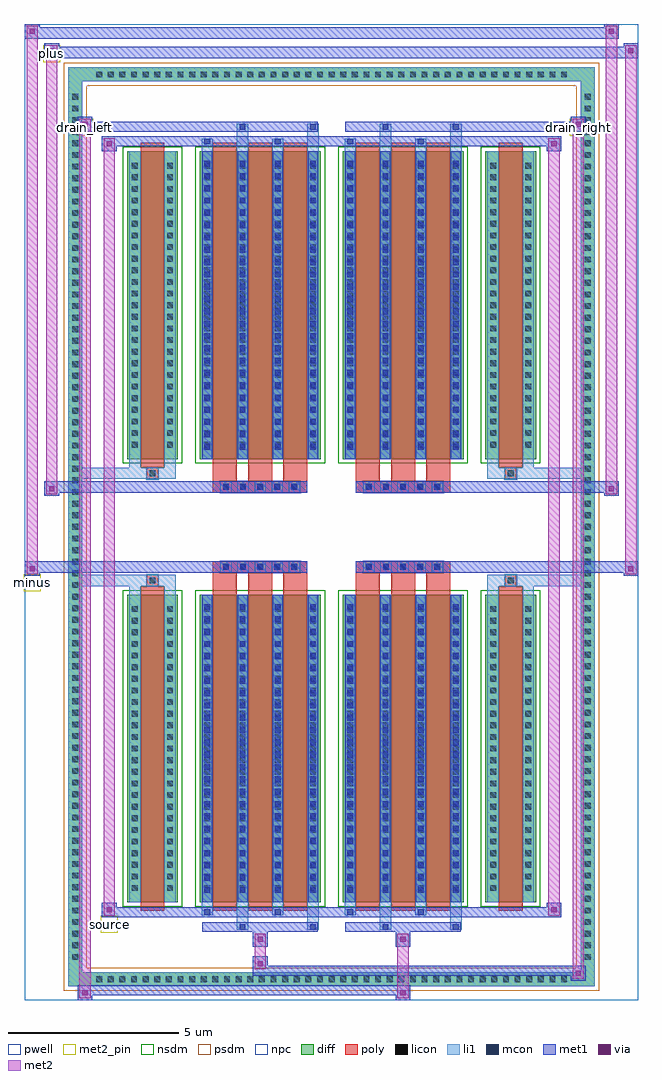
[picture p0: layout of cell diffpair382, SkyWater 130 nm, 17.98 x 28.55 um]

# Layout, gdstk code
import gdstk
lib = gdstk.Library(unit=1e-6, precision=5e-09)
def R(c, l, rs):  # rectangles x0, y0, x1, y1
    for r in rs: c.add(gdstk.rectangle(r[:2], r[2:], *l))
def A(c, l, x, y, w, h, nx, ny, dx, dy):  # array of equal rectangles
    R(c, l, [(x+i*dx, y+j*dy, x+i*dx+w, y+j*dy+h) for i in range(nx) for j in range(ny)])
def P(c, l, *ps):  # polygons
    for p in ps: c.add(gdstk.Polygon(p, *l))
pwell = (64, 44)
diff = (65, 20)
poly = (66, 20)
licon = (66, 44)
li1 = (67, 20)
mcon = (67, 44)
met1 = (68, 20)
via = (68, 44)
met2_pin = (69, 16)
met2 = (69, 20)
nsdm = (93, 44)
psdm = (94, 20)
npc = (95, 20)

diffpair382 = lib.new_cell('diffpair382')
R(diffpair382, pwell, [(-8.97,-13.84,8.97,14.71), (-6.29,-12.03,-0.01,-0.805), (0.01,-12.03,6.29,-0.805), (-6.29,0.805,-0.01,12.03), (0.01,0.805,6.29,12.03)])
A(diffpair382, diff, -7.005, -13.44, 0.41, 0.41, 41, 2, 0.34, 26.47)
A(diffpair382, diff, -7.7, -12.785, 0.41, 0.41, 1, 75, 0, 0.34)
A(diffpair382, diff, 7.29, -12.785, 0.41, 0.41, 1, 75, 0, 0.34)
R(diffpair382, diff, [(-7.005,-13.44,7.005,-13.03), (-7.7,-12.785,-7.29,12.785), (7.29,-12.785,7.7,12.785), (-5.98,-10.985,-4.5,-1.985), (-3.86,-10.985,-0.32,-1.985), (0.32,-10.985,3.86,-1.985), (4.5,-10.985,5.98,-1.985), (-5.98,1.985,-4.5,10.985), (-3.86,1.985,-0.32,10.985), (0.32,1.985,3.86,10.985), (4.5,1.985,5.98,10.985), (-7.005,13.03,7.005,13.44)])
P(diffpair382, diff, [(7.7,13.44),(-7.7,13.44),(-7.7,-13.03),(-7.29,-13.03),(-7.29,13.03),(7.29,13.03),(7.29,-13.03),(-7.29,-13.03),(-7.7,-13.03),(-7.7,-13.44),(7.7,-13.44)])
A(diffpair382, poly, -3.47, -11.235, 0.7, 9.5, 3, 2, 1.03, 12.97)
A(diffpair382, poly, 0.71, -11.235, 0.7, 9.5, 3, 2, 1.03, 12.97)
A(diffpair382, poly, -3.47, -1.735, 0.7, 0.4, 3, 2, 1.03, 3.07)
A(diffpair382, poly, 0.71, -1.735, 0.7, 0.4, 3, 2, 1.03, 3.07)
A(diffpair382, poly, -3.255, -1.335, 0.33, 0.33, 5, 2, 0.5, 2.34)
A(diffpair382, poly, 0.925, -1.335, 0.33, 0.33, 5, 2, 0.5, 2.34)
R(diffpair382, poly, [(-5.59,-11.235,-4.89,-1.735), (4.89,-11.235,5.59,-1.735), (-5.405,-1.735,-5.075,-1.405), (-5.405,-1.735,-5.075,-1.405), (5.075,-1.735,5.405,-1.405), (5.075,-1.735,5.405,-1.405), (-3.47,-1.335,-0.71,-1.005), (0.71,-1.335,3.47,-1.005), (-3.47,1.005,-0.71,1.335), (0.71,1.005,3.47,1.335), (-5.405,1.405,-5.075,1.735), (-5.405,1.405,-5.075,1.735), (5.075,1.405,5.405,1.735), (5.075,1.405,5.405,1.735), (-5.59,1.735,-4.89,11.235), (4.89,1.735,5.59,11.235)])
A(diffpair382, licon, -6.885, -13.32, 0.17, 0.17, 41, 2, 0.34, 26.47)
A(diffpair382, licon, -7.58, -12.665, 0.17, 0.17, 1, 75, 0, 0.34)
A(diffpair382, licon, 7.41, -12.665, 0.17, 0.17, 1, 75, 0, 0.34)
A(diffpair382, licon, -5.84, -10.65, 0.17, 0.17, 1, 25, 0, 0.34)
A(diffpair382, licon, -4.81, -10.65, 0.17, 0.17, 1, 25, 0, 0.34)
A(diffpair382, licon, -3.72, -10.65, 0.17, 0.17, 4, 25, 1.03, 0.34)
A(diffpair382, licon, 0.46, -10.65, 0.17, 0.17, 4, 25, 1.03, 0.34)
A(diffpair382, licon, 4.64, -10.65, 0.17, 0.17, 1, 25, 0, 0.34)
A(diffpair382, licon, 5.67, -10.65, 0.17, 0.17, 1, 25, 0, 0.34)
A(diffpair382, licon, -3.175, -1.255, 0.17, 0.17, 5, 2, 0.5, 2.34)
A(diffpair382, licon, 1.005, -1.255, 0.17, 0.17, 5, 2, 0.5, 2.34)
A(diffpair382, licon, -5.84, 2.32, 0.17, 0.17, 1, 25, 0, 0.34)
A(diffpair382, licon, -4.81, 2.32, 0.17, 0.17, 1, 25, 0, 0.34)
A(diffpair382, licon, -3.72, 2.32, 0.17, 0.17, 4, 25, 1.03, 0.34)
A(diffpair382, licon, 0.46, 2.32, 0.17, 0.17, 4, 25, 1.03, 0.34)
A(diffpair382, licon, 4.64, 2.32, 0.17, 0.17, 1, 25, 0, 0.34)
A(diffpair382, licon, 5.67, 2.32, 0.17, 0.17, 1, 25, 0, 0.34)
R(diffpair382, licon, [(-5.325,-1.655,-5.155,-1.485), (5.155,-1.655,5.325,-1.485), (-5.325,1.485,-5.155,1.655), (5.155,1.485,5.325,1.655)])
A(diffpair382, li1, -6.965, -13.4, 0.33, 0.33, 41, 2, 0.34, 26.47)
A(diffpair382, li1, -7.66, -12.745, 0.33, 0.33, 1, 75, 0, 0.34)
A(diffpair382, li1, 7.33, -12.745, 0.33, 0.33, 1, 75, 0, 0.34)
A(diffpair382, li1, -3.8, -10.985, 0.33, 9, 4, 2, 1.03, 12.97)
A(diffpair382, li1, 0.38, -10.985, 0.33, 9, 4, 2, 1.03, 12.97)
A(diffpair382, li1, -5.92, -10.73, 0.33, 0.33, 1, 25, 0, 0.34)
A(diffpair382, li1, -4.89, -10.73, 0.33, 0.33, 1, 25, 0, 0.34)
A(diffpair382, li1, -3.8, -10.73, 0.33, 0.33, 4, 25, 1.03, 0.34)
A(diffpair382, li1, 0.38, -10.73, 0.33, 0.33, 4, 25, 1.03, 0.34)
A(diffpair382, li1, 4.56, -10.73, 0.33, 0.33, 1, 25, 0, 0.34)
A(diffpair382, li1, 5.59, -10.73, 0.33, 0.33, 1, 25, 0, 0.34)
A(diffpair382, li1, -3.72, -10.71, 0.17, 0.17, 4, 24, 1.03, 0.36)
A(diffpair382, li1, -3.72, -10.71, 0.17, 8.45, 4, 2, 1.03, 12.97)
A(diffpair382, li1, 0.46, -10.71, 0.17, 0.17, 4, 24, 1.03, 0.36)
A(diffpair382, li1, 0.46, -10.71, 0.17, 8.45, 4, 2, 1.03, 12.97)
A(diffpair382, li1, -3.255, -1.335, 0.33, 0.33, 5, 2, 0.5, 2.34)
A(diffpair382, li1, 0.925, -1.335, 0.33, 0.33, 5, 2, 0.5, 2.34)
A(diffpair382, li1, -5.92, 2.24, 0.33, 0.33, 1, 25, 0, 0.34)
A(diffpair382, li1, -4.89, 2.24, 0.33, 0.33, 1, 25, 0, 0.34)
A(diffpair382, li1, -3.8, 2.24, 0.33, 0.33, 4, 25, 1.03, 0.34)
A(diffpair382, li1, 0.38, 2.24, 0.33, 0.33, 4, 25, 1.03, 0.34)
A(diffpair382, li1, 4.56, 2.24, 0.33, 0.33, 1, 25, 0, 0.34)
A(diffpair382, li1, 5.59, 2.24, 0.33, 0.33, 1, 25, 0, 0.34)
A(diffpair382, li1, -3.72, 2.26, 0.17, 0.17, 4, 24, 1.03, 0.36)
A(diffpair382, li1, 0.46, 2.26, 0.17, 0.17, 4, 24, 1.03, 0.36)
R(diffpair382, li1, [(-7.7,-13.44,-7.29,-13.03), (-7.7,-13.44,-7.29,-13.03), (-7.29,-13.44,7.29,-13.03), (7.29,-13.44,7.7,-13.03), (7.29,-13.44,7.7,-13.03), (-7.7,-13.03,-7.29,13.03), (7.29,-13.03,7.7,13.03), (-2.77,-11.79,-2.44,-10.985), (-2.69,-11.79,-2.52,-11.62), (-0.71,-11.79,-0.38,-10.985), (-0.63,-11.79,-0.46,-11.62), (1.41,-11.79,1.74,-10.985), (1.49,-11.79,1.66,-11.62), (3.47,-11.79,3.8,-10.985), (3.55,-11.79,3.72,-11.62), (-3.8,-11.36,-3.47,-10.985), (-3.72,-11.36,-3.55,-11.19), (-1.74,-11.36,-1.41,-10.985), (-1.66,-11.36,-1.49,-11.19), (0.38,-11.36,0.71,-10.985), (0.46,-11.36,0.63,-11.19), (2.44,-11.36,2.77,-10.985), (2.52,-11.36,2.69,-11.19), (-5.92,-10.985,-5.59,-1.985), (-4.89,-10.985,-4.56,-1.985), (4.56,-10.985,4.89,-1.985), (5.59,-10.985,5.92,-1.985), (-5.92,-1.985,-5.59,-1.405), (-4.89,-1.985,-4.56,-1.405), (4.56,-1.985,4.89,-1.405), (5.59,-1.985,5.92,-1.405), (-7.7,-1.735,-5.405,-1.405), (-5.92,-1.735,-5.405,-1.405), (-5.405,-1.735,-5.075,-1.405), (-5.075,-1.735,-4.56,-1.405), (4.56,-1.735,5.075,-1.405), (5.075,-1.735,5.405,-1.405), (5.075,-1.735,7.7,-1.405), (5.405,-1.735,5.92,-1.405), (-7.7,1.405,-5.405,1.735), (-5.92,1.405,-5.405,1.735), (-5.92,1.405,-5.59,1.985), (-5.405,1.405,-5.075,1.735), (-5.075,1.405,-4.56,1.735), (-4.89,1.405,-4.56,1.985), (4.56,1.405,5.075,1.735), (4.56,1.405,4.89,1.985), (5.075,1.405,5.405,1.735), (5.075,1.405,7.7,1.735), (5.405,1.405,5.92,1.735), (5.59,1.405,5.92,1.985), (-5.92,1.985,-5.59,10.985), (-4.89,1.985,-4.56,10.985), (4.56,1.985,4.89,10.985), (5.59,1.985,5.92,10.985), (-3.8,10.985,-3.47,11.36), (-2.77,10.985,-2.44,11.79), (-1.74,10.985,-1.41,11.36), (-0.71,10.985,-0.38,11.79), (0.38,10.985,0.71,11.36), (1.41,10.985,1.74,11.79), (2.44,10.985,2.77,11.36), (3.47,10.985,3.8,11.79), (-3.72,11.19,-3.55,11.36), (-1.66,11.19,-1.49,11.36), (0.46,11.19,0.63,11.36), (2.52,11.19,2.69,11.36), (-2.69,11.62,-2.52,11.79), (-0.63,11.62,-0.46,11.79), (1.49,11.62,1.66,11.79), (3.55,11.62,3.72,11.79), (-7.7,13.03,-7.29,13.44), (-7.7,13.03,-7.29,13.44), (-7.29,13.03,7.29,13.44), (7.29,13.03,7.7,13.44), (7.29,13.03,7.7,13.44)])
A(diffpair382, mcon, -3.72, -10.71, 0.17, 0.17, 4, 24, 1.03, 0.36)
A(diffpair382, mcon, 0.46, -10.71, 0.17, 0.17, 4, 24, 1.03, 0.36)
A(diffpair382, mcon, -3.175, -1.255, 0.17, 0.17, 5, 2, 0.5, 2.34)
A(diffpair382, mcon, 1.005, -1.255, 0.17, 0.17, 5, 2, 0.5, 2.34)
A(diffpair382, mcon, -3.72, 2.26, 0.17, 0.17, 4, 24, 1.03, 0.36)
A(diffpair382, mcon, 0.46, 2.26, 0.17, 0.17, 4, 24, 1.03, 0.36)
R(diffpair382, mcon, [(-2.69,-11.79,-2.52,-11.62), (-0.63,-11.79,-0.46,-11.62), (1.49,-11.79,1.66,-11.62), (3.55,-11.79,3.72,-11.62), (-3.72,-11.36,-3.55,-11.19), (-1.66,-11.36,-1.49,-11.19), (0.46,-11.36,0.63,-11.19), (2.52,-11.36,2.69,-11.19), (-3.72,11.19,-3.55,11.36), (-1.66,11.19,-1.49,11.36), (0.46,11.19,0.63,11.36), (2.52,11.19,2.69,11.36), (-2.69,11.62,-2.52,11.79), (-0.63,11.62,-0.46,11.79), (1.49,11.62,1.66,11.79), (3.55,11.62,3.72,11.79)])
A(diffpair382, met1, -3.78, -10.985, 0.29, 9, 4, 2, 1.03, 12.97)
A(diffpair382, met1, 0.4, -10.985, 0.29, 9, 4, 2, 1.03, 12.97)
A(diffpair382, met1, -3.78, -10.77, 0.29, 0.29, 4, 24, 1.03, 0.36)
A(diffpair382, met1, 0.4, -10.77, 0.29, 0.29, 4, 24, 1.03, 0.36)
A(diffpair382, met1, -3.235, -1.315, 0.29, 0.29, 5, 2, 0.5, 2.34)
A(diffpair382, met1, 0.945, -1.315, 0.29, 0.29, 5, 2, 0.5, 2.34)
A(diffpair382, met1, -3.78, 2.2, 0.29, 0.29, 4, 24, 1.03, 0.36)
A(diffpair382, met1, 0.4, 2.2, 0.29, 0.29, 4, 24, 1.03, 0.36)
R(diffpair382, met1, [(-7.43,-13.84,-7,-13.41), (1.875,-13.84,2.305,-13.41), (-7.43,-13.7,2.305,-13.41), (7,-13.27,7.43,-12.84), (-2.305,-13.13,7.43,-12.84), (-2.305,-12.99,-1.875,-12.56), (-2.305,-12.28,-1.875,-11.85), (1.875,-12.28,2.305,-11.85), (-3.78,-11.85,-0.4,-11.56), (-2.75,-11.85,-2.46,-11.56), (-0.69,-11.85,-0.4,-11.56), (0.4,-11.85,3.78,-11.56), (1.43,-11.85,1.72,-11.56), (3.49,-11.85,3.78,-11.56), (-6.72,-11.42,-6.29,-10.99), (-6.72,-11.42,-3.78,-11.13), (-3.78,-11.42,-3.49,-11.13), (-3.78,-11.42,-0.4,-11.13), (-1.72,-11.42,-1.43,-11.13), (-0.4,-11.42,0.4,-11.13), (0.4,-11.42,0.69,-11.13), (0.4,-11.42,3.78,-11.13), (2.46,-11.42,2.75,-11.13), (3.78,-11.42,6.72,-11.13), (6.29,-11.42,6.72,-10.99), (-8.97,-1.435,-8.54,-1.005), (8.54,-1.435,8.97,-1.005), (-8.97,-1.335,-0.71,-1.005), (-3.47,-1.335,-0.71,-1.005), (0.71,-1.335,3.47,-1.005), (0.71,-1.335,8.97,-1.005), (-8.4,0.905,-7.97,1.335), (7.97,0.905,8.4,1.335), (-8.4,1.005,-3.47,1.335), (-3.47,1.005,-0.71,1.335), (0.71,1.005,3.47,1.335), (3.47,1.005,8.4,1.335), (-6.72,10.99,-6.29,11.42), (6.29,10.99,6.72,11.42), (-6.72,11.13,-3.78,11.42), (-3.78,11.13,-3.49,11.42), (-3.78,11.13,-0.4,11.42), (-1.72,11.13,-1.43,11.42), (-0.4,11.13,0.4,11.42), (0.4,11.13,0.69,11.42), (0.4,11.13,3.78,11.42), (2.46,11.13,2.75,11.42), (3.78,11.13,6.72,11.42), (-7.43,11.56,-7,11.99), (-7.43,11.56,-3.78,11.85), (-3.78,11.56,-0.4,11.85), (-2.75,11.56,-2.46,11.85), (-0.69,11.56,-0.4,11.85), (0.4,11.56,3.78,11.85), (1.43,11.56,1.72,11.85), (3.49,11.56,3.78,11.85), (3.78,11.56,7.43,11.85), (7,11.56,7.43,11.99), (-8.4,13.71,-7.97,14.14), (-8.4,13.71,-6.29,14.04), (-6.29,13.71,6.29,14.04), (6.29,13.71,8.97,14.04), (8.54,13.71,8.97,14.14), (-8.97,14.28,-8.54,14.71), (-8.97,14.28,-6.29,14.61), (-6.29,14.28,6.29,14.61), (6.29,14.28,8.4,14.61), (7.97,14.28,8.4,14.71)])
R(diffpair382, via, [(-7.29,-13.7,-7.14,-13.55), (2.015,-13.7,2.165,-13.55), (7.14,-13.13,7.29,-12.98), (-2.165,-12.85,-2.015,-12.7), (-2.165,-12.14,-2.015,-11.99), (2.015,-12.14,2.165,-11.99), (-6.58,-11.28,-6.43,-11.13), (6.43,-11.28,6.58,-11.13), (-8.83,-1.295,-8.68,-1.145), (8.68,-1.295,8.83,-1.145), (-8.26,1.045,-8.11,1.195), (8.11,1.045,8.26,1.195), (-6.58,11.13,-6.43,11.28), (6.43,11.13,6.58,11.28), (-7.29,11.7,-7.14,11.85), (7.14,11.7,7.29,11.85), (-8.26,13.85,-8.11,14), (8.68,13.85,8.83,14), (-8.83,14.42,-8.68,14.57), (8.11,14.42,8.26,14.57)])
R(diffpair382, met2_pin, [(-6.755,-11.87,-6.255,-11.37), (-9.005,-1.885,-8.505,-1.385), (-7.465,11.44,-6.965,11.94), (6.965,11.44,7.465,11.94), (-8.435,13.59,-7.935,14.09)])
R(diffpair382, met2, [(-7.38,-13.79,-7.05,-13.46), (-7.38,-13.79,-7.05,11.94), (1.925,-13.79,2.255,-13.46), (1.925,-13.46,2.255,-12.23), (7.05,-13.22,7.38,-12.89), (7.05,-13.22,7.38,11.94), (-2.255,-12.94,-1.925,-12.61), (-2.255,-12.61,-1.925,-12.23), (-2.255,-12.23,-1.925,-11.9), (1.925,-12.23,2.255,-11.9), (-6.67,-11.37,-6.34,-11.04), (-6.67,-11.37,-6.34,11.37), (6.34,-11.37,6.67,-11.04), (6.34,-11.37,6.67,11.37), (-8.92,-1.385,-8.59,-1.055), (-8.92,-1.385,-8.59,14.66), (8.59,-1.385,8.92,-1.055), (8.59,-1.385,8.92,14.09), (-8.35,0.955,-8.02,1.285), (-8.35,0.955,-8.02,14.09), (8.02,0.955,8.35,1.285), (8.02,0.955,8.35,14.66), (-6.67,11.04,-6.34,11.37), (6.34,11.04,6.67,11.37), (-7.38,11.61,-7.05,11.94), (7.05,11.61,7.38,11.94), (-8.35,13.76,-8.02,14.09), (8.59,13.76,8.92,14.09), (-8.92,14.33,-8.59,14.66), (8.02,14.33,8.35,14.66)])
P(diffpair382, met2, [(8.92,-1.385),(8.92,-1.385),(8.92,-1.055),(8.92,-1.055)],
  [(8.92,13.76),(8.92,13.76),(8.92,14.09),(8.92,14.09)],
  [(-8.59,-1.385),(-8.59,-1.385),(-8.59,-1.055),(-8.59,-1.055)],
  [(-8.59,14.33),(-8.59,14.33),(-8.59,14.66),(-8.59,14.66)],
  [(8.35,0.955),(8.35,0.955),(8.35,1.285),(8.35,1.285)],
  [(8.35,14.33),(8.35,14.33),(8.35,14.66),(8.35,14.66)],
  [(-8.02,0.955),(-8.02,0.955),(-8.02,1.285),(-8.02,1.285)],
  [(-8.02,13.76),(-8.02,13.76),(-8.02,14.09),(-8.02,14.09)],
  [(-7.05,-13.79),(-7.05,-13.79),(-7.05,-13.46),(-7.05,-13.46)],
  [(-7.05,11.61),(-7.05,11.61),(-7.05,11.94),(-7.05,11.94)],
  [(7.38,-13.22),(7.38,-13.22),(7.38,-12.89),(7.38,-12.89)],
  [(7.38,11.61),(7.38,11.61),(7.38,11.94),(7.38,11.94)],
  [(-6.34,-11.37),(-6.34,-11.37),(-6.34,-11.04),(-6.34,-11.04)],
  [(-6.34,11.04),(-6.34,11.04),(-6.34,11.37),(-6.34,11.37)],
  [(6.67,-11.37),(6.67,-11.37),(6.67,-11.04),(6.67,-11.04)],
  [(6.67,11.04),(6.67,11.04),(6.67,11.37),(6.67,11.37)])
R(diffpair382, nsdm, [(-6.11,-11.115,-4.37,-1.855), (-3.99,-11.115,-0.19,-1.855), (0.19,-11.115,3.99,-1.855), (4.37,-11.115,6.11,-1.855), (-6.11,1.855,-4.37,11.115), (-3.99,1.855,-0.19,11.115), (0.19,1.855,3.99,11.115), (4.37,1.855,6.11,11.115)])
P(diffpair382, psdm, [(7.83,13.57),(-7.83,13.57),(-7.83,-12.9),(-7.16,-12.9),(-7.16,12.9),(7.16,12.9),(7.16,-12.9),(-7.16,-12.9),(-7.83,-12.9),(-7.83,-13.57),(7.83,-13.57)])
A(diffpair382, npc, -3.275, -1.355, 0.37, 0.37, 5, 2, 0.5, 2.34)
A(diffpair382, npc, 0.905, -1.355, 0.37, 0.37, 5, 2, 0.5, 2.34)
R(diffpair382, npc, [(-5.425,-1.755,-5.055,-1.385), (5.055,-1.755,5.425,-1.385), (-3.275,-1.355,-2.405,-0.985), (-3.275,-1.355,-2.405,-0.985), (-2.775,-1.355,-1.905,-0.985), (-2.775,-1.355,-1.905,-0.985), (-2.275,-1.355,-1.405,-0.985), (-2.275,-1.355,-1.405,-0.985), (-1.775,-1.355,-0.905,-0.985), (-1.775,-1.355,-0.905,-0.985), (0.905,-1.355,1.775,-0.985), (0.905,-1.355,1.775,-0.985), (1.405,-1.355,2.275,-0.985), (1.405,-1.355,2.275,-0.985), (1.905,-1.355,2.775,-0.985), (1.905,-1.355,2.775,-0.985), (2.405,-1.355,3.275,-0.985), (2.405,-1.355,3.275,-0.985), (-3.275,0.985,-2.405,1.355), (-3.275,0.985,-2.405,1.355), (-2.775,0.985,-1.905,1.355), (-2.775,0.985,-1.905,1.355), (-2.275,0.985,-1.405,1.355), (-2.275,0.985,-1.405,1.355), (-1.775,0.985,-0.905,1.355), (-1.775,0.985,-0.905,1.355), (0.905,0.985,1.775,1.355), (0.905,0.985,1.775,1.355), (1.405,0.985,2.275,1.355), (1.405,0.985,2.275,1.355), (1.905,0.985,2.775,1.355), (1.905,0.985,2.775,1.355), (2.405,0.985,3.275,1.355), (2.405,0.985,3.275,1.355), (-5.425,1.385,-5.055,1.755), (5.055,1.385,5.425,1.755)])
diffpair382.add(gdstk.Label('minus', (-8.755,-1.635), layer=69, texttype=5))
diffpair382.add(gdstk.Label('drain_right', (7.215,11.69), layer=69, texttype=5))
diffpair382.add(gdstk.Label('drain_left', (-7.215,11.69), layer=69, texttype=5))
diffpair382.add(gdstk.Label('source', (-6.505,-11.62), layer=69, texttype=5))
diffpair382.add(gdstk.Label('plus', (-8.185,13.84), layer=69, texttype=5))

lib.write_gds('diffpair382.gds')
